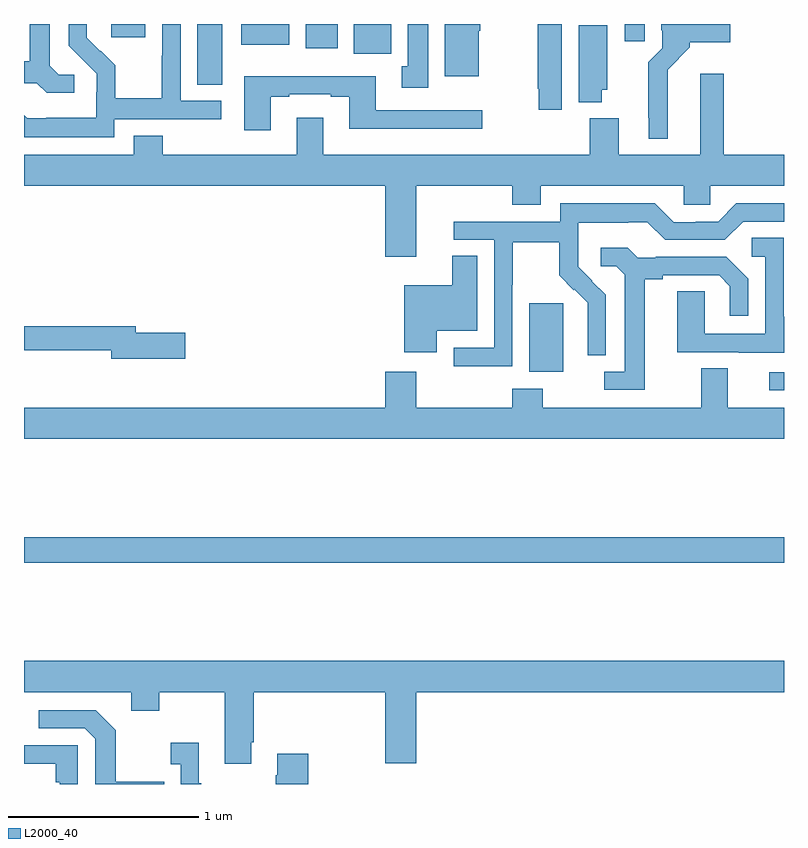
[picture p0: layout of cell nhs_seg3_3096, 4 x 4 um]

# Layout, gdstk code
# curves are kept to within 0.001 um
import gdstk
lib = gdstk.Library(unit=1e-6, precision=1e-09)
def R(c, l, rs):  # rectangles x0, y0, x1, y1
    for r in rs: c.add(gdstk.rectangle(r[:2], r[2:], *l))
def P(c, l, *ps):  # polygons
    for p in ps: c.add(gdstk.Polygon(p, *l))
L2000_40 = (2000, 40)

nhs_seg3_3096 = lib.new_cell('nhs_seg3_3096')
R(nhs_seg3_3096, L2000_40, [(271,733.564,275,733.7), (274.923,734.472,275,734.568), (273.659,734.57,273.838,734.931), (271.913,736.081,272.044,736.4), (272.735,736.244,272.932,736.4), (272.483,736.272,272.65,736.4), (272.144,736.292,272.395,736.4), (274.163,736.308,274.267,736.4), (271.46,736.329,271.639,736.4)])
P(nhs_seg3_3096, L2000_40, [(273.394,736.364),(273.402,736.364),(273.402,736.4),(273.215,736.4),(273.215,736.124),(273.394,736.124)],
  [(273.829,736.4),(273.703,736.4),(273.703,736.06),(273.71,736.06),(273.71,735.948),(273.829,735.948)],
  [(274.387,736.16),(274.505,736.278),(274.505,736.304),(274.717,736.304),(274.717,736.4),(274.355,736.4),(274.355,736.366),(274.359,736.366),(274.359,736.272),(274.285,736.198),(274.285,735.907),(274.289,735.907),(274.289,735.797),(274.387,735.797)],
  [(271.264,736.134),(271.182,736.134),(271.135,736.181),(271.135,736.4),(271.031,736.4),(271.031,736.205),(271,736.205),(271,736.089),(271.068,736.089),(271.12,736.037),(271.264,736.037)],
  [(271.476,735.9),(272.038,735.9),(272.038,735.996),(271.824,735.996),(271.824,736.4),(271.728,736.4),(271.728,736.232),(271.726,736.232),(271.726,736.009),(271.481,736.009),(271.481,736.183),(271.404,736.26),(271.401,736.257),(271.331,736.328),(271.331,736.4),(271.236,736.4),(271.236,736.286),(271.382,736.138),(271.382,736.041),(271.38,736.041),(271.38,735.907),(271.117,735.907),(271.117,735.903),(271.017,735.903),(271,735.92),(271,735.803),(271.476,735.803)],
  [(273.127,736.4),(273.02,736.4),(273.02,736.178),(272.987,736.178),(272.987,736.065),(273.127,736.065)],
  [(274.042,736.053),(274.069,736.053),(274.069,736.394),(273.92,736.394),(273.92,735.989),(274.042,735.989)],
  [(273.064,735.548),(273.569,735.548),(273.569,735.449),(273.721,735.449),(273.721,735.548),(274.473,735.548),(274.473,735.45),(274.611,735.45),(274.611,735.548),(275,735.548),(275,735.712),(274.682,735.712),(274.682,736.138),(274.559,736.138),(274.559,735.712),(274.129,735.712),(274.129,735.904),(273.977,735.904),(273.977,735.712),(272.575,735.712),(272.575,735.907),(272.435,735.907),(272.435,735.712),(271.73,735.712),(271.73,735.811),(271.577,735.811),(271.577,735.712),(271,735.712),(271,735.548),(272.9,735.548),(272.9,735.174),(273.064,735.174)],
  [(272.299,736.017),(272.395,736.017),(272.395,736.029),(272.615,736.029),(272.615,736.017),(272.711,736.017),(272.711,735.848),(273.412,735.848),(273.412,735.945),(272.851,735.945),(272.851,736.126),(272.159,736.126),(272.159,735.84),(272.299,735.84)],
  [(273.57,735.028),(273.573,735.028),(273.573,735.252),(273.817,735.252),(273.817,735.077),(273.894,735),(273.897,735.003),(273.968,734.933),(273.968,734.81),(273.966,734.81),(273.966,734.656),(274.062,734.656),(274.062,734.974),(273.916,735.122),(273.916,735.219),(273.918,735.219),(273.918,735.353),(274.181,735.353),(274.181,735.357),(274.281,735.357),(274.374,735.264),(274.689,735.264),(274.785,735.36),(275,735.36),(275,735.456),(274.749,735.456),(274.653,735.36),(274.535,735.36),(274.535,735.357),(274.419,735.357),(274.319,735.457),(273.822,735.457),(273.822,735.36),(273.261,735.36),(273.261,735.264),(273.474,735.264),(273.474,734.697),(273.261,734.697),(273.261,734.599),(273.57,734.599)],
  [(275,734.859),(274.998,734.859),(274.998,735.275),(274.83,735.275),(274.83,735.174),(274.902,735.174),(274.902,734.769),(274.584,734.769),(274.584,734.993),(274.439,734.993),(274.439,734.673),(274.763,734.673),(274.763,734.669),(275,734.669)],
  [(274.267,735.056),(274.363,735.056),(274.363,735.078),(274.658,735.078),(274.715,735.021),(274.715,734.865),(274.812,734.865),(274.812,735.058),(274.696,735.174),(274.324,735.174),(274.324,735.171),(274.23,735.171),(274.178,735.223),(274.035,735.223),(274.035,735.126),(274.116,735.126),(274.163,735.079),(274.163,734.571),(274.053,734.571),(274.053,734.475),(274.267,734.475)],
  [(273.172,734.786),(273.385,734.786),(273.385,735.179),(273.254,735.179),(273.254,735.025),(273.002,735.025),(273.002,734.673),(273.172,734.673)],
  [(271.849,734.774),(271.588,734.774),(271.588,734.81),(271,734.81),(271,734.682),(271.46,734.682),(271.46,734.639),(271.849,734.639)],
  [(275,734.38),(274.705,734.38),(274.705,734.588),(274.565,734.588),(274.565,734.38),(273.729,734.38),(273.729,734.479),(273.569,734.479),(273.569,734.38),(273.064,734.38),(273.064,734.569),(272.9,734.569),(272.9,734.38),(271,734.38),(271,734.216),(275,734.216)],
  [(272.197,732.619),(272.21,732.619),(272.21,732.884),(272.9,732.884),(272.9,732.51),(273.064,732.51),(273.064,732.884),(275,732.884),(275,733.048),(271,733.048),(271,732.884),(271.565,732.884),(271.565,732.785),(271.713,732.785),(271.713,732.884),(272.057,732.884),(272.057,732.507),(272.197,732.507)],
  [(271.739,732.411),(271.483,732.411),(271.483,732.683),(271.377,732.789),(271.077,732.789),(271.077,732.693),(271.32,732.693),(271.374,732.639),(271.374,732.4),(271.739,732.4)],
  [(271.933,732.403),(271.921,732.403),(271.921,732.616),(271.773,732.616),(271.773,732.503),(271.824,732.503),(271.824,732.4),(271.933,732.4)],
  [(271.284,732.603),(271,732.603),(271,732.507),(271.168,732.507),(271.168,732.41),(271.188,732.41),(271.188,732.4),(271.284,732.4)],
  [(272.496,732.559),(272.333,732.559),(272.333,732.446),(272.326,732.446),(272.326,732.4),(272.496,732.4)])

lib.write_gds('nhs_seg3_3096.gds')
